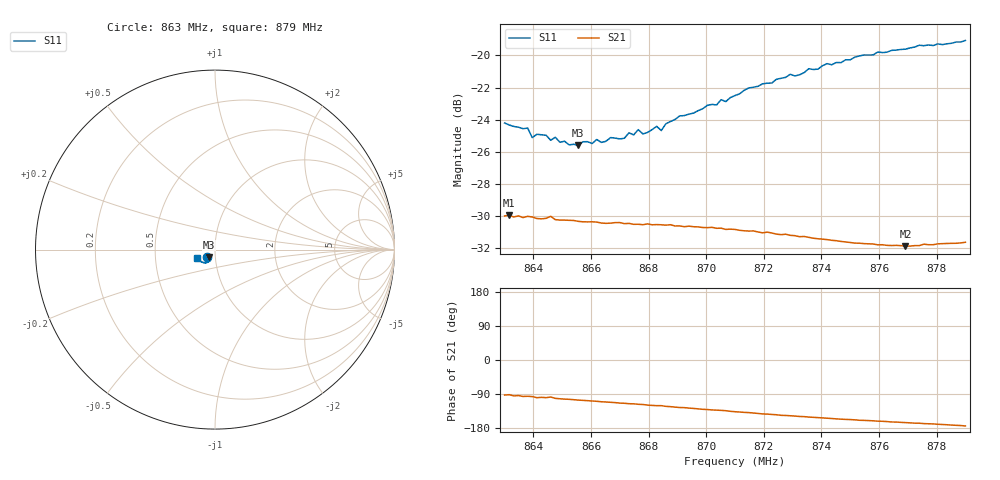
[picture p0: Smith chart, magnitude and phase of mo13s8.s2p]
# HZ S RI R 50
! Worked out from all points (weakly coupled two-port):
!   101 points, 863 MHz to 879 MHz, reference 50 ohm
!   highest |S21| = -29.97 dB at 863.16 MHz (marker M1); lowest = -31.9 dB at 876.92 MHz (marker M2)
!   lowest |S11| = -25.6 dB at 865.56 MHz (marker M3), VSWR 1.11, Z = 46.7 - j3.9 ohm
!   |S11| at or under -10 dB: start of sweep to end of sweep
!   S12 and S22 are empty: the file has one direction only
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8.63e8  -0.0463 -0.0406  -0.00137 -0.0316  0 0  0 0
8.6316e8  -0.0451 -0.0406  -0.000837 -0.0317  0 0  0 0
8.638e8  -0.0425 -0.0414  -0.00313 -0.0313  0 0  0 0
8.6396e8  -0.0394 -0.039  -0.00354 -0.0311  0 0  0 0
8.6444e8  -0.0391 -0.0407  -0.00507 -0.0306  0 0  0 0
8.646e8  -0.0343 -0.0422  -0.00421 -0.0312  0 0  0 0
8.6476e8  -0.0372 -0.0413  -0.00599 -0.0302  0 0  0 0
8.6556e8  -0.032 -0.0416  -0.00829 -0.0292  0 0  0 0
8.6572e8  -0.0318 -0.0434  -0.0086 -0.029  0 0  0 0
8.6716e8  -0.0272 -0.048  -0.0123 -0.0272  0 0  0 0
8.6732e8  -0.0281 -0.05  -0.0128 -0.0271  0 0  0 0
8.6748e8  -0.0267 -0.0498  -0.0129 -0.0268  0 0  0 0
8.6764e8  -0.028 -0.0516  -0.0134 -0.0265  0 0  0 0
8.678e8  -0.0264 -0.0504  -0.0137 -0.0263  0 0  0 0
8.6828e8  -0.0265 -0.054  -0.0151 -0.0256  0 0  0 0
8.6844e8  -0.0264 -0.052  -0.0151 -0.0255  0 0  0 0
8.6908e8  -0.0292 -0.0578  -0.017 -0.024  0 0  0 0
8.71e8  -0.0338 -0.0669  -0.0208 -0.0197  0 0  0 0
8.7372e8  -0.0525 -0.0736  -0.0236 -0.0129  0 0  0 0
8.7644e8  -0.0801 -0.0659  -0.0245 -0.00721  0 0  0 0
8.7692e8  -0.0837 -0.0627  -0.0246 -0.00649  0 0  0 0
8.79e8  -0.1007 -0.0475  -0.026 -0.0027  0 0  0 0
